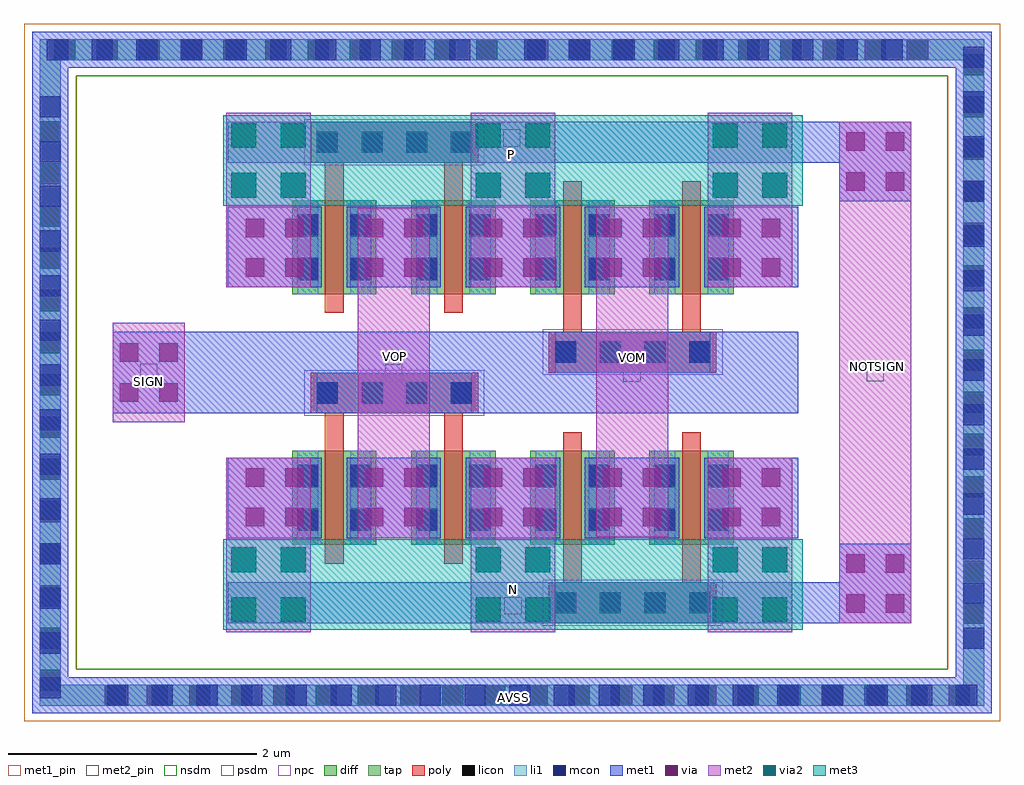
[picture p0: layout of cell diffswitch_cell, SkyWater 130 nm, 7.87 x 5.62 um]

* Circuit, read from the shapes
.subckt diffswitch_cell AVSS N NOTSIGN P SIGN VOM VOP
XM1 VOP SIGN N AVSS sky130_fd_pr__nfet_01v8 w=0.76 l=0.15 m=2
XM2 VOP NOTSIGN P AVSS sky130_fd_pr__nfet_01v8 w=0.76 l=0.15 m=2
XM3 VOM NOTSIGN N AVSS sky130_fd_pr__nfet_01v8 w=0.76 l=0.15 m=2
XM4 VOM SIGN P AVSS sky130_fd_pr__nfet_01v8 w=0.76 l=0.15 m=2
.ends

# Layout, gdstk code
from math import pi, radians
import gdstk
lib = gdstk.Library(unit=1e-6, precision=1e-09)
def R(c, l, rs):  # rectangles x0, y0, x1, y1
    for r in rs: c.add(gdstk.rectangle(r[:2], r[2:], *l))
def A(c, l, x, y, w, h, nx, ny, dx, dy):  # array of equal rectangles
    R(c, l, [(x+i*dx, y+j*dy, x+i*dx+w, y+j*dy+h) for i in range(nx) for j in range(ny)])
diff = (65, 20)
tap = (65, 44)
poly = (66, 20)
licon = (66, 44)
li1 = (67, 20)
mcon = (67, 44)
met1_pin = (68, 16)
met1 = (68, 20)
via = (68, 44)
met2_pin = (69, 16)
met2 = (69, 20)
via2 = (69, 44)
met3 = (70, 20)
nsdm = (93, 44)
psdm = (94, 20)
npc = (95, 20)

nfet_01v8_cdns_731108976 = lib.new_cell('nfet_01v8_CDNS_731108976867')
R(nfet_01v8_cdns_731108976, diff, [(-0.265,0,0,0.76), (0,0,0.15,0.76), (0.15,0,0.415,0.76)])
R(nfet_01v8_cdns_731108976, poly, [(0,-0.15,0.15,-0.095), (0,-0.095,0.15,0), (0,0,0.15,0.76), (0,0.76,0.15,0.855), (0,0.855,0.15,0.91)])
R(nfet_01v8_cdns_731108976, licon, [(-0.225,0.125,-0.055,0.295), (0.205,0.125,0.375,0.295), (-0.225,0.465,-0.055,0.635), (0.205,0.465,0.375,0.635)])
R(nfet_01v8_cdns_731108976, li1, [(-0.225,0,-0.055,0.76), (0.205,0,0.375,0.76)])
R(nfet_01v8_cdns_731108976, nsdm, [(-0.405,-0.13,0.555,0.89)])

polyconn_cdns_7311089768 = lib.new_cell('polyConn_CDNS_731108976862')
R(polyconn_cdns_7311089768, poly, [(-0.675,-0.165,0.675,0.165)])
A(polyconn_cdns_7311089768, licon, -0.625, -0.085, 0.17, 0.17, 4, 1, 0.36, 0)
R(polyconn_cdns_7311089768, li1, [(-0.625,-0.165,0.625,0.165)])
A(polyconn_cdns_7311089768, mcon, -0.625, -0.085, 0.17, 0.17, 4, 1, 0.36, 0)
R(polyconn_cdns_7311089768, met1, [(-0.655,-0.145,0.655,0.145)])
R(polyconn_cdns_7311089768, npc, [(-0.725,-0.185,0.725,0.185)])

l1m1_c_cdns_731108976861 = lib.new_cell('L1M1_C_CDNS_7311089768618')
R(l1m1_c_cdns_731108976861, li1, [(-0.085,-0.345,0.085,0.345)])
R(l1m1_c_cdns_731108976861, mcon, [(-0.085,-0.265,0.085,-0.095), (-0.085,0.095,0.085,0.265)])
R(l1m1_c_cdns_731108976861, met1, [(-0.115,-0.325,0.115,0.325)])

m1m2_c_cdns_731108976861 = lib.new_cell('M1M2_C_CDNS_7311089768616')
R(m1m2_c_cdns_731108976861, met1, [(-0.29,-0.32,0.29,0.32)])
R(m1m2_c_cdns_731108976861, via, [(-0.235,-0.235,-0.085,-0.085), (0.085,-0.235,0.235,-0.085), (-0.235,0.085,-0.085,0.235), (0.085,0.085,0.235,0.235)])
R(m1m2_c_cdns_731108976861, met2, [(-0.29,-0.32,0.29,0.32)])

m2m3_c_cdns_731108976860 = lib.new_cell('M2M3_C_CDNS_731108976860')
R(m2m3_c_cdns_731108976860, met2, [(-0.34,-0.385,0.34,0.385)])
R(m2m3_c_cdns_731108976860, via2, [(-0.3,-0.3,-0.1,-0.1), (0.1,-0.3,0.3,-0.1), (-0.3,0.1,-0.1,0.3), (0.1,0.1,0.3,0.3)])
R(m2m3_c_cdns_731108976860, met3, [(-0.365,-0.365,0.365,0.365)])

diffswitch_cell = lib.new_cell('diffswitch_cell')
A(diffswitch_cell, licon, 0.65, 0.125, 0.17, 0.17, 21, 1, 0.34, 0)
A(diffswitch_cell, licon, 0.125, 0.245, 0.17, 0.17, 1, 14, 0, 0.34)
A(diffswitch_cell, licon, 7.57, 0.785, 0.17, 0.17, 1, 14, 0, 0.34)
A(diffswitch_cell, licon, 0.245, 5.325, 0.17, 0.17, 11, 1, 0.34, 0)
A(diffswitch_cell, licon, 4.055, 5.325, 0.17, 0.17, 10, 1, 0.34, 0)
A(diffswitch_cell, mcon, 0.67, 0.125, 0.17, 0.17, 20, 1, 0.36, 0)
A(diffswitch_cell, mcon, 0.125, 0.185, 0.17, 0.17, 1, 14, 0, 0.36)
A(diffswitch_cell, mcon, 7.57, 0.585, 0.17, 0.17, 1, 14, 0, 0.36)
A(diffswitch_cell, mcon, 0.185, 5.325, 0.17, 0.17, 10, 1, 0.36, 0)
A(diffswitch_cell, mcon, 4.03, 5.325, 0.17, 0.17, 9, 1, 0.36, 0)
R(diffswitch_cell, met1_pin, [(3.87,0.14,4.01,0.28)])
A(diffswitch_cell, met1, 1.64, 1.475, 0.76, 0.65, 5, 2, 0.96, 2.02)
R(diffswitch_cell, met1, [(1.64,0.79,6.81,1.12), (0.715,2.48,6.24,3.14), (1.64,4.5,6.81,4.83)])
R(diffswitch_cell, met2_pin, [(3.87,0.86,4.01,1), (2.91,2.735,3.05,2.875), (4.83,2.735,4.97,2.875), (0.935,2.74,1.075,2.88), (6.79,2.74,6.93,2.88), (3.86,4.63,4,4.77)])
R(diffswitch_cell, met2, [(1.63,0.715,2.31,2.125), (3.6,0.715,4.28,2.125), (5.51,0.715,6.19,2.125), (6.57,0.79,7.15,4.83), (2.69,1.475,3.27,4.135), (4.61,1.485,5.19,4.145), (0.715,2.41,1.295,3.21), (1.63,3.495,2.31,4.905), (3.6,3.495,4.28,4.905), (5.51,3.495,6.19,4.905)])
R(diffswitch_cell, met3, [(1.605,0.735,6.275,1.465), (1.605,4.155,6.275,4.885)])
R(diffswitch_cell, nsdm, [(0.42,0.42,7.445,5.2)])
diffswitch_cell.add(gdstk.FlexPath([(2.5,2.33),(2.5,2.645)], 0.15, ends=(0, 0.075), simple_path=True, layer=66, datatype=20))  # poly
diffswitch_cell.add(gdstk.FlexPath([(2.5,2.645),(3.46,2.645)], 0.15, ends="extended", simple_path=True, layer=66, datatype=20))  # poly
diffswitch_cell.add(gdstk.FlexPath([(3.46,2.33),(3.46,2.645)], 0.15, ends=(0, 0.075), simple_path=True, layer=66, datatype=20))  # poly
diffswitch_cell.add(gdstk.FlexPath([(4.42,1.27),(4.42,0.955)], 0.15, ends=(0, 0.075), simple_path=True, layer=66, datatype=20))  # poly
diffswitch_cell.add(gdstk.FlexPath([(4.42,0.955),(5.38,0.955)], 0.15, ends="extended", simple_path=True, layer=66, datatype=20))  # poly
diffswitch_cell.add(gdstk.FlexPath([(5.38,1.27),(5.38,0.955)], 0.15, ends=(0, 0.075), simple_path=True, layer=66, datatype=20))  # poly
diffswitch_cell.add(gdstk.FlexPath([(2.5,4.35),(2.5,4.665)], 0.15, ends=(0, 0.075), simple_path=True, layer=66, datatype=20))  # poly
diffswitch_cell.add(gdstk.FlexPath([(4.42,3.29),(4.42,2.975)], 0.15, ends=(0, 0.075), simple_path=True, layer=66, datatype=20))  # poly
diffswitch_cell.add(gdstk.FlexPath([(3.46,4.35),(3.46,4.665)], 0.15, ends=(0, 0.075), simple_path=True, layer=66, datatype=20))  # poly
diffswitch_cell.add(gdstk.FlexPath([(3.46,4.665),(2.985,4.665)], 0.15, ends=(0.075, 0), simple_path=True, layer=66, datatype=20))  # poly
diffswitch_cell.add(gdstk.FlexPath([(5.38,3.29),(5.38,2.975)], 0.15, ends=(0, 0.075), simple_path=True, layer=66, datatype=20))  # poly
diffswitch_cell.add(gdstk.FlexPath([(4.42,2.975),(5.38,2.975)], 0.15, ends="extended", simple_path=True, layer=66, datatype=20))  # poly
diffswitch_cell.add(gdstk.FlexPath([(2.5,4.665),(2.985,4.665)], 0.15, ends=(0.075, 0), simple_path=True, layer=66, datatype=20))  # poly
diffswitch_cell.add(gdstk.FlexPath([(3.935,5.41),(7.655,5.41),(7.655,0.21),(0.21,0.21),(0.21,5.41),(3.935,5.41)], 0.17, ends="flush", simple_path=True, layer=67, datatype=20))  # li1
diffswitch_cell.add(gdstk.FlexPath([(3.935,5.41),(7.655,5.41),(7.655,0.21),(0.21,0.21),(0.21,5.41),(3.935,5.41)], 0.29, ends="flush", simple_path=True, layer=68, datatype=20))  # met1
diffswitch_cell.add(gdstk.FlexPath([(3.935,5.41),(7.655,5.41),(7.655,0.21),(0.21,0.21),(0.21,5.41),(3.935,5.41)], 0.17, ends="flush", simple_path=True, layer=65, datatype=44))  # tap
diffswitch_cell.add(gdstk.FlexPath([(3.935,5.41),(7.655,5.41),(7.655,0.21),(0.21,0.21),(0.21,5.41),(3.935,5.41)], 0.42, ends="flush", simple_path=True, layer=94, datatype=20))  # psdm
diffswitch_cell.add(gdstk.Reference(nfet_01v8_cdns_731108976, (4.345,1.42)))
diffswitch_cell.add(gdstk.Reference(nfet_01v8_cdns_731108976, (5.455,1.42), rotation=pi, x_reflection=True))
diffswitch_cell.add(gdstk.Reference(nfet_01v8_cdns_731108976, (2.575,3.44), rotation=pi, x_reflection=True))
diffswitch_cell.add(gdstk.Reference(nfet_01v8_cdns_731108976, (3.385,3.44)))
diffswitch_cell.add(gdstk.Reference(nfet_01v8_cdns_731108976, (2.425,2.18), x_reflection=True))
diffswitch_cell.add(gdstk.Reference(nfet_01v8_cdns_731108976, (3.535,2.18), rotation=pi))
diffswitch_cell.add(gdstk.Reference(nfet_01v8_cdns_731108976, (4.495,4.2), rotation=pi))
diffswitch_cell.add(gdstk.Reference(nfet_01v8_cdns_731108976, (5.305,4.2), x_reflection=True))
diffswitch_cell.add(gdstk.Reference(polyconn_cdns_7311089768, (2.985,2.645), rotation=pi, x_reflection=True))
diffswitch_cell.add(gdstk.Reference(polyconn_cdns_7311089768, (4.905,0.955), rotation=pi))
diffswitch_cell.add(gdstk.Reference(polyconn_cdns_7311089768, (2.985,4.665), rotation=pi, x_reflection=True))
diffswitch_cell.add(gdstk.Reference(polyconn_cdns_7311089768, (4.905,2.975), rotation=pi))
diffswitch_cell.add(gdstk.Reference(l1m1_c_cdns_731108976861, (2.285,1.8), rotation=pi))
diffswitch_cell.add(gdstk.Reference(l1m1_c_cdns_731108976861, (2.285,3.82), rotation=pi, x_reflection=True))
diffswitch_cell.add(gdstk.Reference(l1m1_c_cdns_731108976861, (2.715,1.8), rotation=pi))
diffswitch_cell.add(gdstk.Reference(l1m1_c_cdns_731108976861, (3.245,1.8), rotation=pi))
diffswitch_cell.add(gdstk.Reference(l1m1_c_cdns_731108976861, (2.715,3.82), rotation=pi, x_reflection=True))
diffswitch_cell.add(gdstk.Reference(l1m1_c_cdns_731108976861, (3.245,3.82), rotation=pi, x_reflection=True))
diffswitch_cell.add(gdstk.Reference(l1m1_c_cdns_731108976861, (3.675,1.8), rotation=pi))
diffswitch_cell.add(gdstk.Reference(l1m1_c_cdns_731108976861, (4.205,1.8), rotation=pi, x_reflection=True))
diffswitch_cell.add(gdstk.Reference(l1m1_c_cdns_731108976861, (3.675,3.82), rotation=pi, x_reflection=True))
diffswitch_cell.add(gdstk.Reference(l1m1_c_cdns_731108976861, (4.205,3.82), rotation=pi))
diffswitch_cell.add(gdstk.Reference(l1m1_c_cdns_731108976861, (4.635,1.8), rotation=pi, x_reflection=True))
diffswitch_cell.add(gdstk.Reference(l1m1_c_cdns_731108976861, (5.595,1.8), rotation=pi, x_reflection=True))
diffswitch_cell.add(gdstk.Reference(l1m1_c_cdns_731108976861, (5.165,1.8), rotation=pi, x_reflection=True))
diffswitch_cell.add(gdstk.Reference(l1m1_c_cdns_731108976861, (4.635,3.82), rotation=pi))
diffswitch_cell.add(gdstk.Reference(l1m1_c_cdns_731108976861, (5.595,3.82), rotation=pi))
diffswitch_cell.add(gdstk.Reference(l1m1_c_cdns_731108976861, (5.165,3.82), rotation=pi))
diffswitch_cell.add(gdstk.Reference(m1m2_c_cdns_731108976861, (1.005,2.81), rotation=pi, x_reflection=True))
diffswitch_cell.add(gdstk.Reference(m1m2_c_cdns_731108976861, (6.86,1.11), rotation=pi, x_reflection=True))
diffswitch_cell.add(gdstk.Reference(m1m2_c_cdns_731108976861, (6.86,4.51), rotation=pi))
diffswitch_cell.add(gdstk.Reference(m1m2_c_cdns_731108976861, (5.86,3.815), rotation=pi))
diffswitch_cell.add(gdstk.Reference(m1m2_c_cdns_731108976861, (5.86,1.805), rotation=pi, x_reflection=True))
diffswitch_cell.add(gdstk.Reference(m1m2_c_cdns_731108976861, (2.02,3.815), rotation=pi, x_reflection=True))
diffswitch_cell.add(gdstk.Reference(m1m2_c_cdns_731108976861, (2.02,1.805), rotation=pi))
diffswitch_cell.add(gdstk.Reference(m1m2_c_cdns_731108976861, (3.94,3.815), rotation=pi, x_reflection=True))
diffswitch_cell.add(gdstk.Reference(m1m2_c_cdns_731108976861, (3.94,1.805), rotation=pi, x_reflection=True))
diffswitch_cell.add(gdstk.Reference(m1m2_c_cdns_731108976861, (2.98,3.815), rotation=pi, x_reflection=True))
diffswitch_cell.add(gdstk.Reference(m1m2_c_cdns_731108976861, (2.98,1.805), rotation=pi))
diffswitch_cell.add(gdstk.Reference(m1m2_c_cdns_731108976861, (4.9,1.805), rotation=pi, x_reflection=True))
diffswitch_cell.add(gdstk.Reference(m1m2_c_cdns_731108976861, (4.9,3.815), rotation=pi))
diffswitch_cell.add(gdstk.Reference(m2m3_c_cdns_731108976860, (1.97,1.1), rotation=pi, x_reflection=True))
diffswitch_cell.add(gdstk.Reference(m2m3_c_cdns_731108976860, (3.94,1.1), rotation=pi, x_reflection=True))
diffswitch_cell.add(gdstk.Reference(m2m3_c_cdns_731108976860, (5.85,1.1), rotation=pi, x_reflection=True))
diffswitch_cell.add(gdstk.Reference(m2m3_c_cdns_731108976860, (1.97,4.52), rotation=pi, x_reflection=True))
diffswitch_cell.add(gdstk.Reference(m2m3_c_cdns_731108976860, (3.94,4.52), rotation=pi, x_reflection=True))
diffswitch_cell.add(gdstk.Reference(m2m3_c_cdns_731108976860, (5.85,4.52), rotation=pi, x_reflection=True))
diffswitch_cell.add(gdstk.Label('AVSS', (3.945,0.19), layer=68, texttype=5))
diffswitch_cell.add(gdstk.Label('P', (3.925,4.565), layer=69, texttype=5))
diffswitch_cell.add(gdstk.Label('VOM', (4.905,2.93), layer=69, texttype=5))
diffswitch_cell.add(gdstk.Label('VOP', (2.985,2.935), layer=69, texttype=5))
diffswitch_cell.add(gdstk.Label('NOTSIGN', (6.875,2.855), layer=69, texttype=5))
diffswitch_cell.add(gdstk.Label('SIGN', (1.005,2.735), layer=69, texttype=5))
diffswitch_cell.add(gdstk.Label('N', (3.945,1.06), layer=69, texttype=5))

lib.write_gds('diffswitch_cell.gds')
